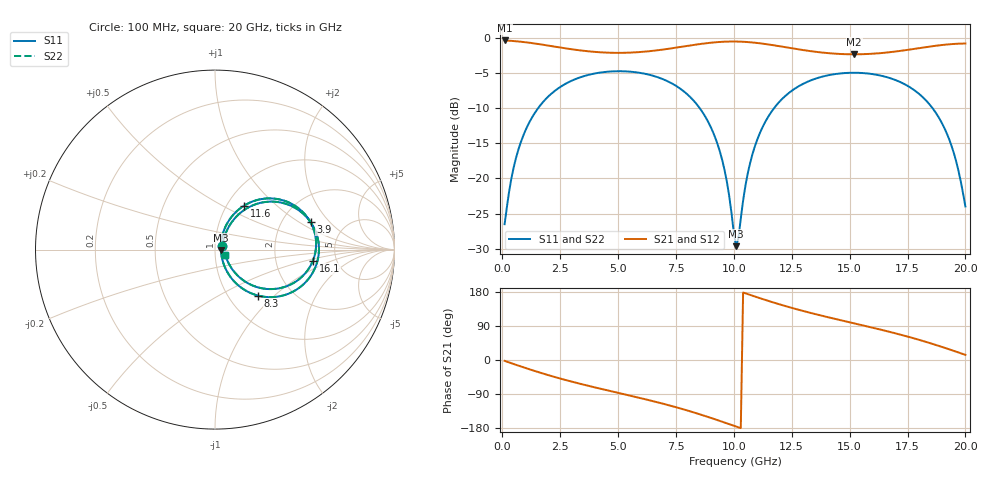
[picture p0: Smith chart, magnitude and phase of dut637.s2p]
! Touchstone file exported from HFSS 2026.1.0
!  File:  C:/ffzhzh/LocalFiles/Ansys_Project_Files/temp_train_TSV_RDL_637_1783126980_46604.aedt
!  Generated:  09:23:39 AM Jul  4, 2026
!  Design:  TSV_RDL
!  Project:  temp_train_TSV_RDL_637_1783126980_46604
! Variables:
!  h_bsmrdl = 2.59um
!  h_ox = 20um
!  h_rdl = 5um
!  h_sub = 95.42um
!  h_tmrdl = 3.18um
!  h_tsv = 95.42um
!  h_via = 3um
!  l_bsmrdl = 708.17um
!  l_sub = 5683.64um
!  l_tmrdl = 759.58um
!  m_sub = 200um
!  pitch = 45.99um
!  r_tsv = 2.85um
!  s_tmrdl = 10um
!  w_bsmrdl = 24.47um
!  w_sub = 500um
!  w_tmrdl = 15.8um
!  x_tsv_center1 = 767.48um
!  x_tsv_center2 = 1500.12um
!  x_tsv_center3 = 2275.5um
!  x_tsv_center4 = 3008.14um
!  x_tsv_center5 = 3783.52um
!  x_tsv_center6 = 4516.16um
# GHz S MA R 50.000000
! Terminal data exported
! Port[1] = TM_RDL1_1_T1
! Port[2] = TM_RDL5_1_T1
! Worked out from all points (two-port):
!   200 points, 100 MHz to 20 GHz, reference 50 ohm
!   highest |S21| = -0.36 dB at 100 MHz (marker M1); lowest = -2.3 dB at 15.2 GHz (marker M2)
!   |S21| within 3 dB of the highest: start of sweep to end of sweep
!   lowest |S11| = -29.6 dB at 10.1 GHz (marker M3), VSWR 1.07, Z = 53.4 - j0.165 ohm
!   |S11| at or under -10 dB: start of sweep to 1.548 GHz; 8.526 GHz to 11.74 GHz (3.212 GHz wide, 31.7 % of centre); 18.58 GHz to end of sweep
!   |S22| runs from -29.7 to -4.7 dB; largest |S21 - S12| = 1.6e-14
!   S11 on the Smith chart (normalised r, x): 100 MHz: 1.09, +0.05; 3.9 GHz: 2.87, +1.26; 8.3 GHz: 1.36, -0.80; 11.6 GHz: 1.20, +0.64; 16.1 GHz: 3.32, -0.59; 20 GHz: 1.12, -0.06
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0.1  0.04726 28.0  0.9589 -2.2  0.9589 -2.2  0.04726 28.0
! Gamma 0 0 0 0
! Port Impedance 50 0 50 0
0.5  0.1215 57.9  0.9494 -10.8  0.9494 -10.8  0.1215 57.9
1.2  0.2565 54.8  0.9224 -25.1  0.9224 -25.1  0.2565 54.8
2.2  0.4114 40.5  0.8701 -43.7  0.8701 -43.7  0.4114 40.5
3.5  0.533 21.5  0.8098 -64.9  0.8098 -64.9  0.533 21.5
3.9  0.5542 16.0  0.7974 -70.9  0.7974 -70.9  0.5542 16.0
5.4  0.577 -4.2  0.7844 -92.3  0.7844 -92.3  0.577 -4.2
6.8  0.5189 -23.7  0.8202 -113.1  0.8202 -113.1  0.5189 -23.7
8.3  0.3522 -46.8  0.8928 -138.9  0.8928 -138.9  0.3522 -46.8
9.4  0.1547 -61.1  0.9359 -160.8  0.9359 -160.8  0.1547 -61.1
9.7  0.0945 -59.1  0.9412 -167.1  0.9412 -167.1  0.09446 -59.2
10.1  0.03297 -2.7  0.9423 -175.6  0.9423 -175.6  0.03285 -2.7
10.7  0.1283 65.4  0.9312 171.8  0.9312 171.8  0.1282 65.4
11.6  0.2942 56.4  0.8926 153.8  0.8926 153.8  0.2942 56.5
13.4  0.5041 29.5  0.8012 122.9  0.8012 122.9  0.5041 29.6
15.2  0.565 5.3  0.7641 96.6  0.7641 96.6  0.565 5.4
16.1  0.549 -6.5  0.7736 83.7  0.7736 83.7  0.549 -6.5
16.7  0.5203 -14.6  0.7899 74.7  0.7899 74.7  0.5203 -14.6
18  0.3996 -33.2  0.8454 53.2  0.8454 53.2  0.3996 -33.2
18.9  0.2629 -45.6  0.8866 36.3  0.8866 36.3  0.2629 -45.5
19.5  0.1517 -49.0  0.9057 24.1  0.9057 24.1  0.1518 -48.8
20  0.06324 -26.2  0.9122 13.6  0.9122 13.6  0.06371 -25.8
